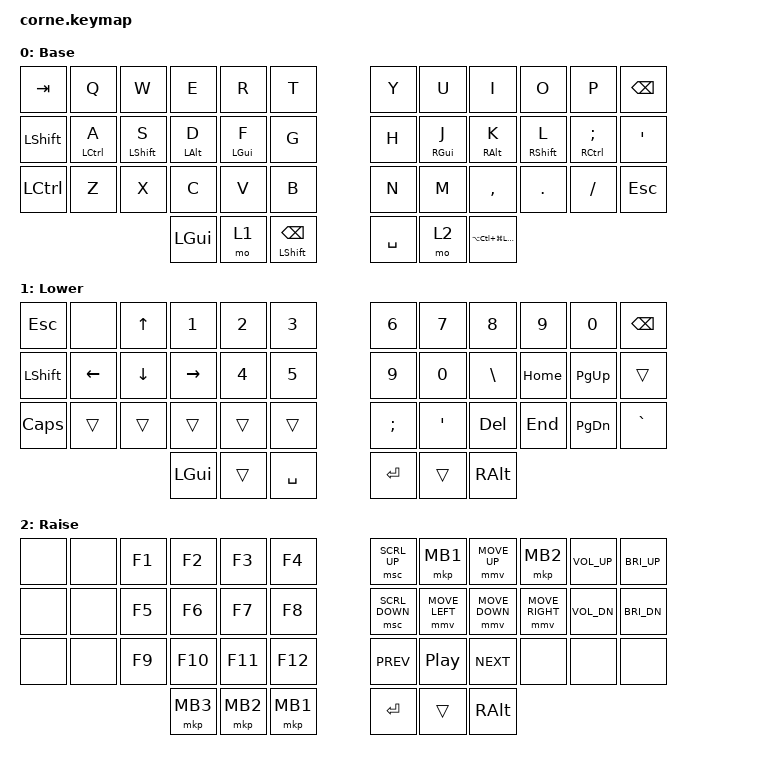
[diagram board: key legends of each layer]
/*
 * Copyright (c) 2020 The ZMK Contributors
 *
 * SPDX-License-Identifier: MIT
 */

#include <behaviors.dtsi>
#include <dt-bindings/zmk/keys.h>
#include <dt-bindings/zmk/pointing.h>

/ {
    keymap {
        compatible = "zmk,keymap";

        default_layer {
            // -----------------------------------------------------------------------------------------
            // |  TAB |  Q  |  W  |  E  |  R  |  T  |   |  Y  |  U   |  I  |  O  |  P  | BKSP |
            // | CTRL |  A  |  S  |  D  |  F  |  G  |   |  H  |  J   |  K  |  L  |  ;  |  '   |
            // | SHFT |  Z  |  X  |  C  |  V  |  B  |   |  N  |  M   |  ,  |  .  |  /  | ESC  |
            //                    | GUI | LWR | SPC |   | ENT | RSE  | ALT |

            display-name = "Base";
            bindings = <
&kp TAB     &kp Q        &kp W         &kp E       &kp R       &kp T                   &kp Y      &kp U            &kp I                  &kp O         &kp P           &kp BSPC
&kp LSHIFT  &mt LCTRL A  &mt LSHIFT S  &mt LALT D  &mt LGUI F  &kp G                   &kp H      &mt RIGHT_GUI J  &mt RALT K             &mt RSHIFT L  &mt RCTRL SEMI  &kp SQT
&kp LCTRL   &kp Z        &kp X         &kp C       &kp V       &kp B                   &kp N      &kp M            &kp COMMA              &kp DOT       &kp FSLH        &kp ESC
                                       &kp LGUI    &mo 1       &mt LSHIFT BACKSPACE    &kp SPACE  &mo 2            &kp LA(LC(LG(LSHFT)))
            >;
        };

        lower_layer {
            // -----------------------------------------------------------------------------------------
            // |  TAB |  1  |  2  |  3  |  4  |  5  |   |  6  |  7  |  8  |  9  |  0  | BKSP |
            // | BTCLR| BT1 | BT2 | BT3 | BT4 | BT5 |   | LFT | DWN |  UP | RGT |     |      |
            // | SHFT |     |     |     |     |     |   |     |     |     |     |     |      |
            //                    | GUI |     | SPC |   | ENT |     | ALT |

            display-name = "Lower";
            bindings = <
&kp ESCAPE  &none     &kp UP    &kp N1     &kp N2  &kp N3       &kp N6    &kp N7    &kp N8         &kp N9    &kp N0     &kp BSPC
&kp LSHFT   &kp LEFT  &kp DOWN  &kp RIGHT  &kp N4  &kp N5       &kp N9    &kp N0    &kp BACKSLASH  &kp HOME  &kp PG_UP  &trans
&kp CAPS    &trans    &trans    &trans     &trans  &trans       &kp SEMI  &kp APOS  &kp DEL        &kp END   &kp PG_DN  &kp GRAVE
                                &kp LGUI   &trans  &kp SPACE    &kp RET   &trans    &kp RALT
            >;
        };

        raise_layer {
            // -----------------------------------------------------------------------------------------
            // |  TAB |  !  |  @  |  #  |  $  |  %  |   |  ^  |  &  |  *  |  (  |  )  | BKSP |
            // | CTRL |     |     |     |     |     |   |  -  |  =  |  [  |  ]  |  \  |  `   |
            // | SHFT |     |     |     |     |     |   |  _  |  +  |  {  |  }  | "|" |  ~   |
            //                    | GUI |     | SPC |   | ENT |     | ALT |

            display-name = "Raise";
            bindings = <
&none  &none  &kp F1  &kp F2    &kp F3    &kp F4      &msc SCRL_UP    &mkp MB1          &mmv MOVE_UP    &mkp MB2         &kp C_VOL_UP  &kp C_BRI_UP
&none  &none  &kp F5  &kp F6    &kp F7    &kp F8      &msc SCRL_DOWN  &mmv MOVE_LEFT    &mmv MOVE_DOWN  &mmv MOVE_RIGHT  &kp C_VOL_DN  &kp C_BRI_DN
&none  &none  &kp F9  &kp F10   &kp F11   &kp F12     &kp C_PREV      &kp C_PLAY_PAUSE  &kp C_NEXT      &none            &none         &none
                      &mkp MB3  &mkp MB2  &mkp MB1    &kp RET         &trans            &kp RALT
            >;
        };
    };
};
